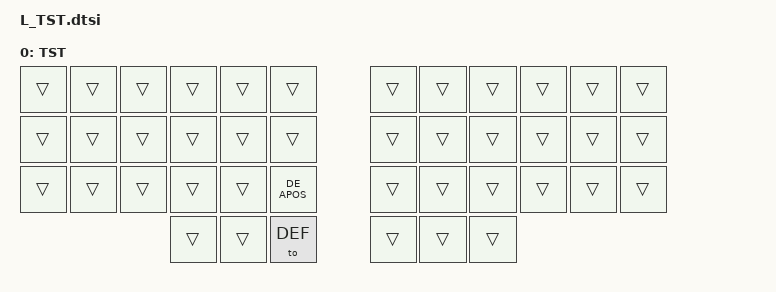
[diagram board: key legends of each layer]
/**
 *  Test Layer
 */

#include "keys_de.h"

/ {
  keymap {
    compatible = "zmk,keymap";

    layer_xxx {
      label = "TST";
      bindings = <
// ╭───────────────┬───────────────┬───────────────┬───────────────┬───────────────┬───────────────╮   ╭───────────────┬───────────────┬───────────────┬───────────────┬───────────────┬───────────────╮
//  0               1               2               3               4               5                   6               7               8               9               10              11
    &trans          &trans          &trans          &trans          &trans          &trans              &trans          &trans          &trans          &trans          &trans          &trans          
// ├───────────────├───────────────┼───────────────┼───────────────┼───────────────┼───────────────┤   ├───────────────├───────────────┼───────────────┼───────────────┼───────────────┼───────────────┤
//  12              13              14              15              16              17                  18              19              20              21              22              23
    &trans          &trans          &trans          &trans          &trans          &trans              &trans          &trans          &trans          &trans          &trans          &trans          
// ├───────────────├───────────────┼───────────────┼───────────────┼───────────────┼───────────────┤   ├───────────────├───────────────┼───────────────┼───────────────┼───────────────┼───────────────┤
//  24              25              26              27              28              29                  30              31              32              33              34              35
    &trans          &trans          &trans          &trans          &trans          &kp DE_APOS         &trans          &trans          &trans          &trans          &trans          &trans          
// ╰───────────────┴───────────────┴───────────────┼───────────────┼───────────────┼───────────────┤   ├───────────────├───────────────┼───────────────┼───────────────┴───────────────┴───────────────╯
//                                                  36              37              38                  39              40              41
                                                    &trans          &trans          &to DEF             &trans          &trans          &trans
//                                                 ╰───────────────┴───────────────┴───────────────╯   ╰───────────────┴───────────────┴───────────────╯
      >;
    };
  };
};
